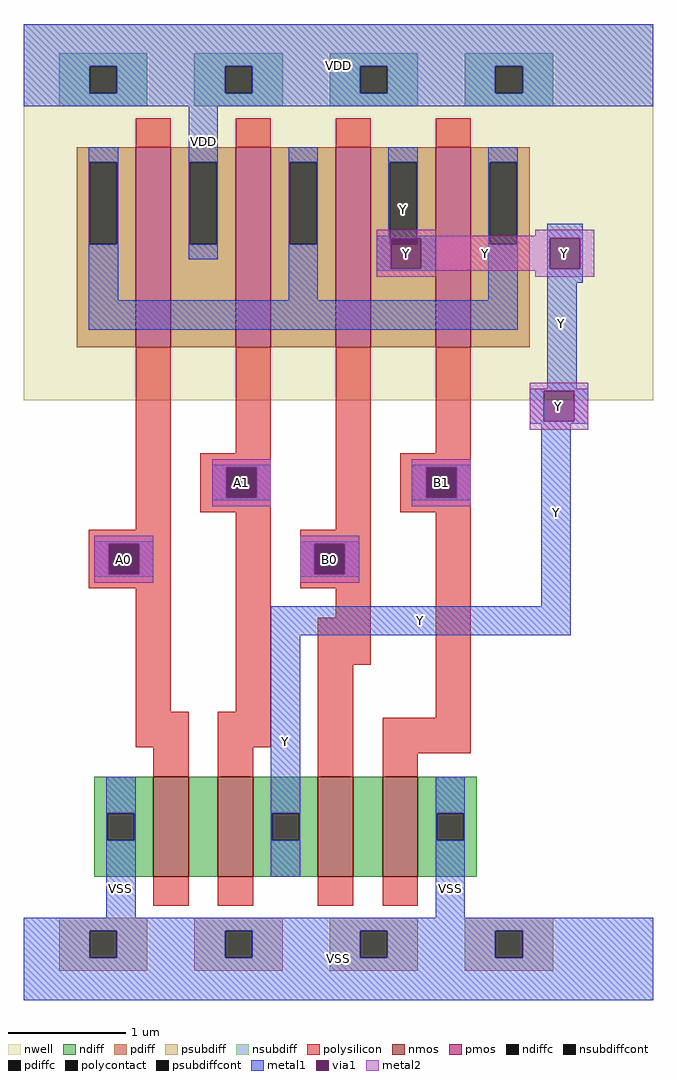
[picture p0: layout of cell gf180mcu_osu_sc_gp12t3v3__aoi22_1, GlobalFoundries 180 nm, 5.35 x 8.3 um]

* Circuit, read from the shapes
.subckt gf180mcu_osu_sc_gp12t3v3__aoi22_1 Y A0 A1 B0 B1 VDD VSS
XM1 n1 A0 VSS VSS nfet_03v3 w=0.85u l=0.3u
XM2 Y A1 n1 VSS nfet_03v3 w=0.85u l=0.3u
XM3 n2 B0 Y VSS nfet_03v3 w=0.85u l=0.3u
XM4 VSS B1 n2 VSS nfet_03v3 w=0.85u l=0.3u
XM5 VDD A0 n3 VDD pfet_03v3 w=1.7u l=0.3u
XM6 n3 A1 VDD VDD pfet_03v3 w=1.7u l=0.3u
XM7 Y B0 n3 VDD pfet_03v3 w=1.7u l=0.3u
XM8 n3 B1 Y VDD pfet_03v3 w=1.7u l=0.3u
.ends

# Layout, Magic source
magic
tech gf180mcuA
magscale 1 10
<< nwell >>
rect 0 1020 1070 1660
<< nmos >>
rect 220 210 280 380
rect 330 210 390 380
rect 500 210 560 380
rect 610 210 670 380
<< pmos >>
rect 190 1110 250 1450
rect 360 1110 420 1450
rect 530 1110 590 1450
rect 700 1110 760 1450
<< ndiff >>
rect 120 318 220 380
rect 120 272 142 318
rect 188 272 220 318
rect 120 210 220 272
rect 280 210 330 380
rect 390 318 500 380
rect 390 272 422 318
rect 468 272 500 318
rect 390 210 500 272
rect 560 210 610 380
rect 670 318 770 380
rect 670 272 702 318
rect 748 272 770 318
rect 670 210 770 272
<< pdiff >>
rect 90 1425 190 1450
rect 90 1285 112 1425
rect 158 1285 190 1425
rect 90 1110 190 1285
rect 250 1425 360 1450
rect 250 1285 282 1425
rect 328 1285 360 1425
rect 250 1110 360 1285
rect 420 1425 530 1450
rect 420 1285 452 1425
rect 498 1285 530 1425
rect 420 1110 530 1285
rect 590 1425 700 1450
rect 590 1285 622 1425
rect 668 1285 700 1425
rect 590 1110 700 1285
rect 760 1425 860 1450
rect 760 1285 792 1425
rect 838 1285 860 1425
rect 760 1110 860 1285
<< ndiffc >>
rect 142 272 188 318
rect 422 272 468 318
rect 702 272 748 318
<< pdiffc >>
rect 112 1285 158 1425
rect 282 1285 328 1425
rect 452 1285 498 1425
rect 622 1285 668 1425
rect 792 1285 838 1425
<< psubdiff >>
rect 60 118 210 140
rect 60 72 112 118
rect 158 72 210 118
rect 60 50 210 72
rect 290 118 440 140
rect 290 72 342 118
rect 388 72 440 118
rect 290 50 440 72
rect 520 118 670 140
rect 520 72 572 118
rect 618 72 670 118
rect 520 50 670 72
rect 750 118 900 140
rect 750 72 802 118
rect 848 72 900 118
rect 750 50 900 72
<< nsubdiff >>
rect 60 1588 210 1610
rect 60 1542 112 1588
rect 158 1542 210 1588
rect 60 1520 210 1542
rect 290 1588 440 1610
rect 290 1542 342 1588
rect 388 1542 440 1588
rect 290 1520 440 1542
rect 520 1588 670 1610
rect 520 1542 572 1588
rect 618 1542 670 1588
rect 520 1520 670 1542
rect 750 1588 900 1610
rect 750 1542 802 1588
rect 848 1542 900 1588
rect 750 1520 900 1542
<< psubdiffcont >>
rect 112 72 158 118
rect 342 72 388 118
rect 572 72 618 118
rect 802 72 848 118
<< nsubdiffcont >>
rect 112 1542 158 1588
rect 342 1542 388 1588
rect 572 1542 618 1588
rect 802 1542 848 1588
<< polysilicon >>
rect 190 1450 250 1500
rect 360 1450 420 1500
rect 530 1450 590 1500
rect 700 1450 760 1500
rect 190 800 250 1110
rect 360 930 420 1110
rect 300 903 420 930
rect 300 857 347 903
rect 393 857 420 903
rect 300 830 420 857
rect 110 773 250 800
rect 110 727 147 773
rect 193 727 250 773
rect 110 700 250 727
rect 190 490 250 700
rect 360 490 420 830
rect 530 800 590 1110
rect 700 930 760 1110
rect 640 903 760 930
rect 640 857 687 903
rect 733 857 760 903
rect 640 830 760 857
rect 470 773 590 800
rect 470 727 497 773
rect 543 727 590 773
rect 470 700 590 727
rect 530 650 590 700
rect 190 430 280 490
rect 220 380 280 430
rect 330 430 420 490
rect 500 570 590 650
rect 330 380 390 430
rect 500 380 560 570
rect 700 480 760 830
rect 610 420 760 480
rect 610 380 670 420
rect 220 160 280 210
rect 330 160 390 210
rect 500 160 560 210
rect 610 160 670 210
<< polycontact >>
rect 347 857 393 903
rect 147 727 193 773
rect 687 857 733 903
rect 497 727 543 773
<< metal1 >>
rect 0 1588 1070 1660
rect 0 1542 112 1588
rect 158 1542 342 1588
rect 388 1542 572 1588
rect 618 1542 802 1588
rect 848 1542 1070 1588
rect 0 1520 1070 1542
rect 110 1425 160 1450
rect 110 1285 112 1425
rect 158 1285 160 1425
rect 110 1190 160 1285
rect 280 1425 330 1520
rect 280 1285 282 1425
rect 328 1285 330 1425
rect 280 1260 330 1285
rect 450 1425 500 1450
rect 450 1285 452 1425
rect 498 1285 500 1425
rect 620 1425 670 1450
rect 620 1300 622 1425
rect 450 1190 500 1285
rect 600 1285 622 1300
rect 668 1300 670 1425
rect 790 1425 840 1450
rect 668 1296 700 1300
rect 600 1244 624 1285
rect 676 1244 700 1296
rect 600 1240 700 1244
rect 790 1285 792 1425
rect 838 1285 840 1425
rect 790 1190 840 1285
rect 110 1140 840 1190
rect 890 1296 950 1320
rect 890 1244 894 1296
rect 946 1244 950 1296
rect 890 1220 950 1244
rect 890 1040 940 1220
rect 860 1036 960 1040
rect 860 984 884 1036
rect 936 984 960 1036
rect 860 980 960 984
rect 320 906 420 910
rect 320 854 344 906
rect 396 854 420 906
rect 320 850 420 854
rect 660 906 760 910
rect 660 854 684 906
rect 736 854 760 906
rect 660 850 760 854
rect 120 776 220 780
rect 120 724 144 776
rect 196 724 220 776
rect 120 720 220 724
rect 470 776 570 780
rect 470 724 494 776
rect 546 724 570 776
rect 470 720 570 724
rect 880 670 930 980
rect 420 620 930 670
rect 140 318 190 380
rect 140 272 142 318
rect 188 272 190 318
rect 140 140 190 272
rect 420 318 470 620
rect 420 272 422 318
rect 468 272 470 318
rect 420 210 470 272
rect 700 318 750 380
rect 700 272 702 318
rect 748 272 750 318
rect 700 140 750 272
rect 0 118 1070 140
rect 0 72 112 118
rect 158 72 342 118
rect 388 72 572 118
rect 618 72 802 118
rect 848 72 1070 118
rect 0 0 1070 72
<< via1 >>
rect 624 1285 668 1296
rect 668 1285 676 1296
rect 624 1244 676 1285
rect 894 1244 946 1296
rect 884 984 936 1036
rect 344 903 396 906
rect 344 857 347 903
rect 347 857 393 903
rect 393 857 396 903
rect 344 854 396 857
rect 684 903 736 906
rect 684 857 687 903
rect 687 857 733 903
rect 733 857 736 903
rect 684 854 736 857
rect 144 773 196 776
rect 144 727 147 773
rect 147 727 193 773
rect 193 727 196 773
rect 144 724 196 727
rect 494 773 546 776
rect 494 727 497 773
rect 497 727 543 773
rect 543 727 546 773
rect 494 724 546 727
<< metal2 >>
rect 600 1300 700 1310
rect 870 1300 970 1310
rect 600 1296 970 1300
rect 600 1244 624 1296
rect 676 1244 894 1296
rect 946 1244 970 1296
rect 600 1240 970 1244
rect 600 1230 700 1240
rect 870 1230 970 1240
rect 860 1036 960 1050
rect 860 984 884 1036
rect 936 984 960 1036
rect 860 970 960 984
rect 320 906 420 920
rect 320 854 344 906
rect 396 854 420 906
rect 320 840 420 854
rect 660 906 760 920
rect 660 854 684 906
rect 736 854 760 906
rect 660 840 760 854
rect 120 776 220 790
rect 120 724 144 776
rect 196 724 220 776
rect 120 710 220 724
rect 470 776 570 790
rect 470 724 494 776
rect 546 724 570 776
rect 470 710 570 724
<< labels >>
rlabel metal1 s 280 1260 330 1660 4 VDD
port 12 nsew power bidirectional abutment
rlabel metal1 s 140 0 190 380 4 VSS
port 13 nsew ground bidirectional abutment
rlabel via1 s 894 1244 946 1296 4 Y
port 1 nsew signal output
rlabel via1 s 144 724 196 776 4 A0
port 2 nsew signal input
rlabel via1 s 344 854 396 906 4 A1
port 3 nsew signal input
rlabel via1 s 494 724 546 776 4 B0
port 4 nsew signal input
rlabel via1 s 684 854 736 906 4 B1
port 5 nsew signal input
rlabel metal1 s 0 1520 1070 1660 1 VDD
port 12 nsew power bidirectional abutment
rlabel metal1 s 700 0 750 380 1 VSS
port 13 nsew ground bidirectional abutment
rlabel metal1 s 0 0 1070 140 1 VSS
port 13 nsew ground bidirectional abutment
rlabel metal2 s 120 710 220 790 1 A0
port 2 nsew signal input
rlabel metal1 s 120 720 220 780 1 A0
port 2 nsew signal input
rlabel metal2 s 320 840 420 920 1 A1
port 3 nsew signal input
rlabel metal1 s 320 850 420 910 1 A1
port 3 nsew signal input
rlabel metal2 s 470 710 570 790 1 B0
port 4 nsew signal input
rlabel metal1 s 470 720 570 780 1 B0
port 4 nsew signal input
rlabel metal2 s 660 840 760 920 1 B1
port 5 nsew signal input
rlabel metal1 s 660 850 760 910 1 B1
port 5 nsew signal input
rlabel via1 s 884 984 936 1036 1 Y
port 1 nsew signal output
rlabel via1 s 624 1244 676 1296 1 Y
port 1 nsew signal output
rlabel metal2 s 860 970 960 1050 1 Y
port 1 nsew signal output
rlabel metal2 s 600 1230 700 1310 1 Y
port 1 nsew signal output
rlabel metal2 s 600 1240 970 1300 1 Y
port 1 nsew signal output
rlabel metal2 s 870 1230 970 1310 1 Y
port 1 nsew signal output
rlabel metal1 s 620 1240 670 1450 1 Y
port 1 nsew signal output
rlabel metal1 s 600 1240 700 1300 1 Y
port 1 nsew signal output
rlabel metal1 s 420 210 470 670 1 Y
port 1 nsew signal output
rlabel metal1 s 420 620 930 670 1 Y
port 1 nsew signal output
rlabel metal1 s 880 620 930 1040 1 Y
port 1 nsew signal output
rlabel metal1 s 890 980 940 1320 1 Y
port 1 nsew signal output
rlabel metal1 s 890 1220 950 1320 1 Y
port 1 nsew signal output
rlabel metal1 s 860 980 960 1040 1 Y
port 1 nsew signal output
<< properties >>
string FIXED_BBOX 0 0 1070 1660
string GDS_END 48216
string GDS_FILE $PDKPATH/libs.ref/gf180mcu_osu_sc_gp12t3v3/gds/gf180mcu_osu_sc_gp12t3v3.gds
string GDS_START 41414
string LEFclass CORE
string LEFsite gf180mcu_osu_sc_gp12t3v3
string LEFsymmetry X Y
<< end >>
